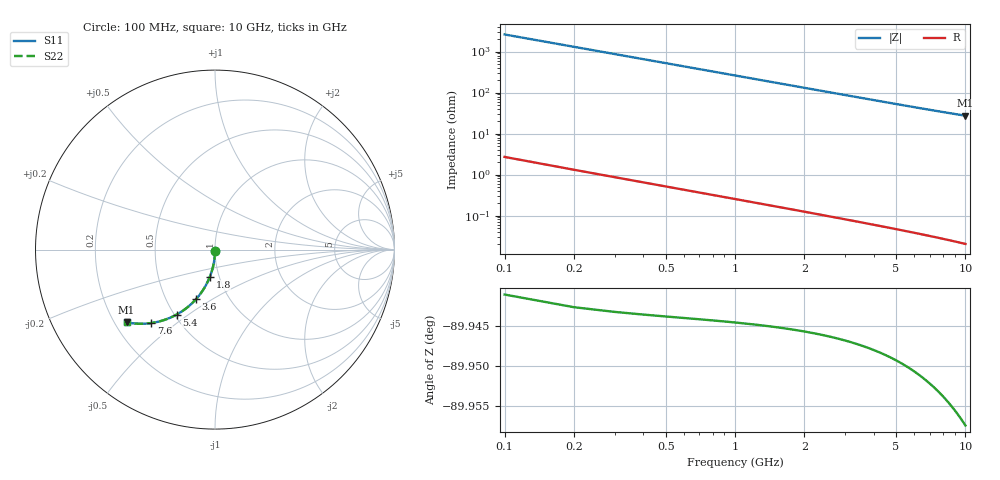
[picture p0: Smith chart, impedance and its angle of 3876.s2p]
# Hz S RI R 50.00
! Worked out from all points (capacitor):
!   100 points, 100 MHz to 10 GHz, reference 50 ohm
!   read as one part in shunt: C = 609 fF near 100 MHz
!   lowest |Z| = 27.3 ohm at 10 GHz (marker M1)
!   S11 on the Smith chart (normalised r, x): 100 MHz: 1.00, -0.02; 1.8 GHz: 0.90, -0.28; 3.6 GHz: 0.70, -0.43; 5.4 GHz: 0.51, -0.45; 7.6 GHz: 0.35, -0.41; 10 GHz: 0.25, -0.34
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1e8  0.000126 -0.00866  0.9997 -0.0105  0.9997 -0.0105  0.000126 -0.00866
2e8  -0.000154 -0.0173  0.9994 -0.0209  0.9994 -0.0209  -0.000154 -0.0173
3e8  -0.000615 -0.026  0.9989 -0.0314  0.9989 -0.0314  -0.000615 -0.026
4e8  -0.00126 -0.0346  0.9983 -0.0418  0.9983 -0.0418  -0.00126 -0.0346
5e8  -0.00208 -0.0432  0.9974 -0.0523  0.9974 -0.0523  -0.00208 -0.0432
6e8  -0.00308 -0.0518  0.9964 -0.0627  0.9964 -0.0627  -0.00308 -0.0518
8e8  -0.00562 -0.0689  0.9938 -0.0834  0.9938 -0.0834  -0.00562 -0.0689
1.1e9  -0.0108 -0.0943  0.9886 -0.1141  0.9886 -0.1141  -0.0108 -0.0943
1.4e9  -0.0174 -0.1191  0.9818 -0.1445  0.9818 -0.1445  -0.0174 -0.1191
1.8e9  -0.0286 -0.1514  0.9704 -0.184  0.9704 -0.184  -0.0286 -0.1514
2.1e9  -0.0387 -0.1747  0.9601 -0.2128  0.9601 -0.2128  -0.0387 -0.1747
2.5e9  -0.0541 -0.2045  0.9444 -0.2499  0.9444 -0.2499  -0.0541 -0.2045
2.9e9  -0.0717 -0.2326  0.9265 -0.2853  0.9265 -0.2853  -0.0717 -0.2326
3.4e9  -0.0962 -0.2651  0.9014 -0.3269  0.9014 -0.3269  -0.0962 -0.2651
3.6e9  -0.1068 -0.2772  0.8906 -0.3427  0.8906 -0.3427  -0.1068 -0.2772
4.3e9  -0.1463 -0.3155  0.8501 -0.3939  0.8501 -0.3939  -0.1463 -0.3155
5.1e9  -0.1953 -0.3511  0.7998 -0.4444  0.7998 -0.4444  -0.1953 -0.3511
5.4e9  -0.2143 -0.3622  0.7803 -0.4612  0.7803 -0.4612  -0.2143 -0.3622
6.7e9  -0.2979 -0.3968  0.6939 -0.5204  0.6939 -0.5204  -0.2979 -0.3968
7.6e9  -0.3549 -0.409  0.6345 -0.55  0.6345 -0.55  -0.3549 -0.409
8.4e9  -0.4036 -0.413  0.5835 -0.5696  0.5835 -0.5696  -0.4036 -0.413
1e10  -0.4929 -0.4052  0.4886 -0.5937  0.4886 -0.5937  -0.4929 -0.4052
